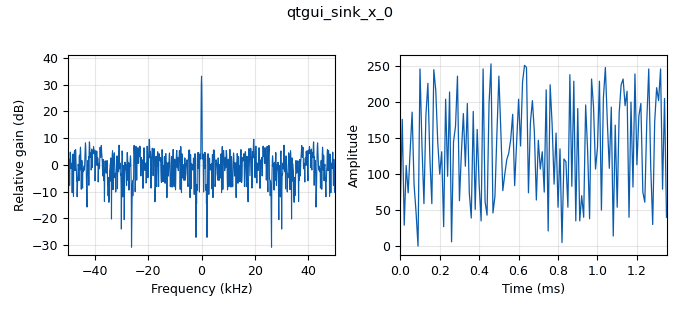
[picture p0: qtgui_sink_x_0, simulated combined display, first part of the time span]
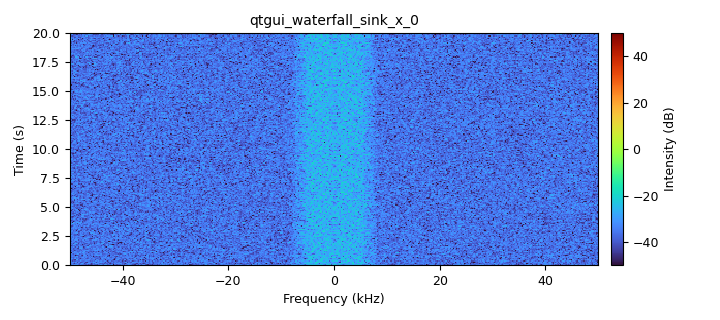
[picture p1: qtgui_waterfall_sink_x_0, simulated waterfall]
<?xml version='1.0' encoding='utf-8'?>
<?grc format='1' created='3.7.9'?>
<flow_graph>
<block>
<key>options</key>
<param><key>id</key><value>top_block</value></param>
<param><key>category</key><value>Custom</value></param>
<param><key>generate_options</key><value>qt_gui</value></param>
</block>
<block>
<key>variable_qtgui_range</key>
<param><key>id</key><value>noise</value></param>
<param><key>value</key><value>0</value></param>
<param><key>label</key><value>Noise</value></param>
<param><key>orient</key><value>Qt.Horizontal</value></param>
<param><key>start</key><value>0</value></param>
<param><key>step</key><value>0.1</value></param>
<param><key>stop</key><value>1</value></param>
</block>
<block>
<key>variable</key>
<param><key>id</key><value>samp_per_sym</value></param>
<param><key>value</key><value>100000</value></param>
</block>
<block>
<key>variable</key>
<param><key>id</key><value>samp_rate</value></param>
<param><key>value</key><value>100000</value></param>
</block>
<block>
<key>analog_noise_source_x</key>
<param><key>id</key><value>analog_noise_source_x_0</value></param>
<param><key>amp</key><value>1</value></param>
<param><key>noise_type</key><value>analog.GR_GAUSSIAN</value></param>
<param><key>type</key><value>complex</value></param>
<param><key>seed</key><value>0</value></param>
</block>
<block>
<key>analog_random_source_x</key>
<param><key>id</key><value>analog_random_source_x_0</value></param>
<param><key>max</key><value>256</value></param>
<param><key>min</key><value>0</value></param>
<param><key>num_samps</key><value>1000</value></param>
<param><key>type</key><value>byte</value></param>
<param><key>repeat</key><value>True</value></param>
</block>
<block>
<key>blocks_add_xx</key>
<param><key>id</key><value>blocks_add_xx_0</value></param>
<param><key>type</key><value>complex</value></param>
</block>
<block>
<key>blocks_throttle</key>
<param><key>id</key><value>blocks_throttle_0</value></param>
<param><key>samples_per_second</key><value>samp_rate</value></param>
<param><key>type</key><value>byte</value></param>
</block>
<block>
<key>blocks_throttle</key>
<param><key>id</key><value>blocks_throttle_0_0</value></param>
<param><key>samples_per_second</key><value>samp_rate</value></param>
<param><key>type</key><value>complex</value></param>
</block>
<block>
<key>blocks_uchar_to_float</key>
<param><key>id</key><value>blocks_uchar_to_float_0</value></param>
</block>
<block>
<key>digital_dxpsk_mod</key>
<param><key>id</key><value>digital_dxpsk_mod_0</value></param>
<param><key>excess_bw</key><value>0.35</value></param>
<param><key>mod_code</key><value>"gray"</value></param>
<param><key>log</key><value>False</value></param>
<param><key>samples_per_symbol</key><value>8</value></param>
<param><key>type</key><value>dbpsk</value></param>
<param><key>verbose</key><value>True</value></param>
</block>
<block>
<key>facsink</key>
<param><key>id</key><value>facsink_0</value></param>
<param><key>avg_alpha</key><value>0</value></param>
<param><key>average</key><value>False</value></param>
<param><key>baseband_freq</key><value>0</value></param>
<param><key>_enabled</key><value>0</value></param>
<param><key>peak_hold</key><value>False</value></param>
<param><key>fac_rate</key><value>facsink.default_fac_rate</value></param>
<param><key>ref_level</key><value>50</value></param>
<param><key>samp_rate</key><value>samp_rate</value></param>
<param><key>fac_size</key><value>32768</value></param>
<param><key>title</key><value>Fast AutoCorrelation</value></param>
<param><key>type</key><value>complex</value></param>
<param><key>y_per_div</key><value>10</value></param>
</block>
<block>
<key>qtgui_const_sink_x</key>
<param><key>id</key><value>qtgui_const_sink_x_0</value></param>
<param><key>_enabled</key><value>0</value></param>
<param><key>size</key><value>1024</value></param>
<param><key>type</key><value>complex</value></param>
</block>
<block>
<key>qtgui_histogram_sink_x</key>
<param><key>id</key><value>qtgui_histogram_sink_x_0</value></param>
<param><key>_enabled</key><value>0</value></param>
<param><key>xmax</key><value>1</value></param>
<param><key>xmin</key><value>-1</value></param>
<param><key>bins</key><value>100</value></param>
<param><key>size</key><value>1024</value></param>
<param><key>type</key><value>float</value></param>
</block>
<block>
<key>qtgui_sink_x</key>
<param><key>id</key><value>qtgui_sink_x_0</value></param>
<param><key>bw</key><value>samp_rate</value></param>
<param><key>fc</key><value>0</value></param>
<param><key>freqchangevar</key><value>None</value></param>
<param><key>fftsize</key><value>1024</value></param>
<param><key>gui_hint</key><value>Tabber,Tab0</value></param>
<param><key>plotconst</key><value>False</value></param>
<param><key>showports</key><value>True</value></param>
<param><key>type</key><value>float</value></param>
<param><key>wintype</key><value>firdes.WIN_BLACKMAN_hARRIS</value></param>
</block>
<block>
<key>qtgui_waterfall_sink_x</key>
<param><key>id</key><value>qtgui_waterfall_sink_x_0</value></param>
<param><key>bw</key><value>samp_rate</value></param>
<param><key>fc</key><value>0</value></param>
<param><key>fftsize</key><value>1024</value></param>
<param><key>int_max</key><value>50</value></param>
<param><key>int_min</key><value>-50</value></param>
<param><key>showports</key><value>True</value></param>
<param><key>type</key><value>complex</value></param>
<param><key>wintype</key><value>firdes.WIN_BLACKMAN_hARRIS</value></param>
</block>
<block>
<key>qtgui_tab_widget</key>
<param><key>id</key><value>tabber</value></param>
<param><key>label0</key><value>Tab0</value></param>
<param><key>label1</key><value>Tab1</value></param>
<param><key>label2</key><value>Tab2</value></param>
<param><key>num_tabs</key><value>3</value></param>
</block>
<block>
<key>wxgui_waterfallsink2</key>
<param><key>id</key><value>wxgui_waterfallsink2_0</value></param>
<param><key>avg_alpha</key><value>0</value></param>
<param><key>average</key><value>False</value></param>
<param><key>baseband_freq</key><value>0</value></param>
<param><key>dynamic_range</key><value>100</value></param>
<param><key>_enabled</key><value>0</value></param>
<param><key>fft_rate</key><value>15</value></param>
<param><key>fft_size</key><value>512</value></param>
<param><key>freqvar</key><value>None</value></param>
<param><key>ref_scale</key><value>2.0</value></param>
<param><key>ref_level</key><value>50</value></param>
<param><key>samp_rate</key><value>samp_rate</value></param>
<param><key>title</key><value>Waterfall Plot</value></param>
<param><key>type</key><value>complex</value></param>
<param><key>win</key><value>None</value></param>
</block>
<connection><source_block_id>analog_noise_source_x_0</source_block_id><sink_block_id>blocks_add_xx_0</sink_block_id><source_key>0</source_key><sink_key>1</sink_key></connection>
<connection><source_block_id>analog_random_source_x_0</source_block_id><sink_block_id>blocks_throttle_0</sink_block_id><source_key>0</source_key><sink_key>0</sink_key></connection>
<connection><source_block_id>analog_random_source_x_0</source_block_id><sink_block_id>digital_dxpsk_mod_0</sink_block_id><source_key>0</source_key><sink_key>0</sink_key></connection>
<connection><source_block_id>blocks_add_xx_0</source_block_id><sink_block_id>blocks_throttle_0_0</sink_block_id><source_key>0</source_key><sink_key>0</sink_key></connection>
<connection><source_block_id>blocks_throttle_0</source_block_id><sink_block_id>blocks_uchar_to_float_0</sink_block_id><source_key>0</source_key><sink_key>0</sink_key></connection>
<connection><source_block_id>blocks_throttle_0_0</source_block_id><sink_block_id>facsink_0</sink_block_id><source_key>0</source_key><sink_key>0</sink_key></connection>
<connection><source_block_id>blocks_throttle_0_0</source_block_id><sink_block_id>qtgui_const_sink_x_0</sink_block_id><source_key>0</source_key><sink_key>0</sink_key></connection>
<connection><source_block_id>blocks_throttle_0_0</source_block_id><sink_block_id>qtgui_waterfall_sink_x_0</sink_block_id><source_key>0</source_key><sink_key>0</sink_key></connection>
<connection><source_block_id>blocks_throttle_0_0</source_block_id><sink_block_id>wxgui_waterfallsink2_0</sink_block_id><source_key>0</source_key><sink_key>0</sink_key></connection>
<connection><source_block_id>blocks_uchar_to_float_0</source_block_id><sink_block_id>qtgui_histogram_sink_x_0</sink_block_id><source_key>0</source_key><sink_key>0</sink_key></connection>
<connection><source_block_id>blocks_uchar_to_float_0</source_block_id><sink_block_id>qtgui_sink_x_0</sink_block_id><source_key>0</source_key><sink_key>0</sink_key></connection>
<connection><source_block_id>digital_dxpsk_mod_0</source_block_id><sink_block_id>blocks_add_xx_0</sink_block_id><source_key>0</source_key><sink_key>0</sink_key></connection>
</flow_graph>
